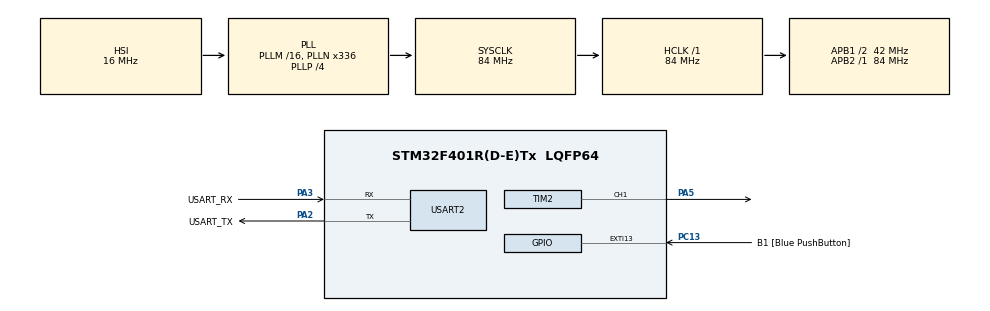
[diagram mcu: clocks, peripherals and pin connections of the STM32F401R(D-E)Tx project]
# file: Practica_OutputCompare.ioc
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Mcu.Family=STM32F4
Mcu.Name=STM32F401R(D-E)Tx
Mcu.Package=LQFP64
NVIC.EXTI15_10_IRQn=true\:0\:0\:false\:false\:true\:true\:true\:true
NVIC.PriorityGroup=NVIC_PRIORITYGROUP_0
PA13.GPIO_Label=TMS
PA13.Mode=Serial_Wire
PA13.Signal=SYS_JTMS-SWDIO
PA14.GPIO_Label=TCK
PA14.Mode=Serial_Wire
PA14.Signal=SYS_JTCK-SWCLK
PA2.GPIO_Label=USART_TX
PA2.GPIO_Mode=GPIO_MODE_AF_PP
PA2.GPIO_PuPd=GPIO_NOPULL
PA2.GPIO_Speed=GPIO_SPEED_FREQ_LOW
PA2.Mode=Asynchronous
PA2.Signal=USART2_TX
PA3.GPIO_Label=USART_RX
PA3.GPIO_Mode=GPIO_MODE_AF_PP
PA3.GPIO_PuPd=GPIO_NOPULL
PA3.GPIO_Speed=GPIO_SPEED_FREQ_LOW
PA3.Mode=Asynchronous
PA3.Signal=USART2_RX
PA5.Signal=S_TIM2_CH1_ETR
PB3.GPIO_Label=SWO
PB3.Signal=SYS_JTDO-SWO
PC13-ANTI_TAMP.GPIO_Label=B1 [Blue PushButton]
PC13-ANTI_TAMP.GPIO_ModeDefaultEXTI=GPIO_MODE_IT_RISING_FALLING
PC13-ANTI_TAMP.GPIO_PuPd=GPIO_NOPULL
PC13-ANTI_TAMP.Signal=GPXTI13
PC14-OSC32_IN.Mode=LSE-External-Oscillator
PC14-OSC32_IN.Signal=RCC_OSC32_IN
PC15-OSC32_OUT.Mode=LSE-External-Oscillator
PC15-OSC32_OUT.Signal=RCC_OSC32_OUT
PH0\ -\ OSC_IN.Mode=HSE-External-Clock-Source
PH0\ -\ OSC_IN.Signal=RCC_OSC_IN
PH1\ -\ OSC_OUT.Mode=HSE-External-Clock-Source
PH1\ -\ OSC_OUT.Signal=RCC_OSC_OUT
ProjectManager.HeapSize=0x200
ProjectManager.StackSize=0x400
ProjectManager.TargetToolchain=STM32CubeIDE
RCC.48MHZClocksFreq_Value=48000000
RCC.AHBFreq_Value=84000000
RCC.APB1CLKDivider=RCC_HCLK_DIV2
RCC.APB1Freq_Value=42000000
RCC.APB1TimFreq_Value=84000000
RCC.APB2Freq_Value=84000000
RCC.APB2TimFreq_Value=84000000
RCC.CortexFreq_Value=84000000
RCC.HCLKFreq_Value=84000000
RCC.HSE_VALUE=8000000
RCC.HSI_VALUE=16000000
RCC.PLLN=336
RCC.PLLP=RCC_PLLP_DIV4
RCC.PLLQ=7
RCC.SYSCLKFreq_VALUE=84000000
RCC.SYSCLKSource=RCC_SYSCLKSOURCE_PLLCLK
RCC.VCOOutputFreq_Value=336000000
SH.S_TIM2_CH1_ETR.0=TIM2_CH1,Output Compare1 CH1
TIM1.Prescaler=41999
TIM2.AutoReloadPreload=TIM_AUTORELOAD_PRELOAD_DISABLE
TIM2.Channel-Output\ Compare1\ CH1=TIM_CHANNEL_1
TIM2.OC1Preload=ENABLE
TIM2.OCMode_1=TIM_OCMODE_TOGGLE
TIM2.OCPolarity_1=TIM_OCPOLARITY_HIGH
TIM2.Period=2000
TIM2.Prescaler=41999
USART2.VirtualMode=VM_ASYNC
VP_TIM1_VS_ClockSourceINT.Mode=Internal
VP_TIM2_VS_ClockSourceINT.Mode=Internal
board=NUCLEO-F401RE

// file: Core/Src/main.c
/* USER CODE BEGIN Header */
/**
  ******************************************************************************
  * @file           : main.c
  * @brief          : Main program body
  ******************************************************************************
  * @attention
  *
  * Copyright (c) 2022 STMicroelectronics.
  * All rights reserved.
  *
  * This software is licensed under terms that can be found in the LICENSE file
  * in the root directory of this software component.
  * If no LICENSE file comes with this software, it is provided AS-IS.
  *
  ******************************************************************************
  */
/* USER CODE END Header */
#include "main.h"

/* USER CODE BEGIN PD */
#define UN_SEG 		((uint32_t)2000) //TIMER 1 con clock de 84MHz, prescaler de 41999 (cada tick es de 0,5ms)
#define TRES_SEG 	((uint32_t)3 * UN_SEG)
#define CINCO_SEG 	((uint32_t)5 * UN_SEG)

#define MS			((uint32_t) 2)	//TIMER 2 con clock de 84MHz, prescaler de 41999 (cada tick es de 0,5ms => cada ms son dos ticks)
/* USER CODE END PD */

TIM_HandleTypeDef htim1;
TIM_HandleTypeDef htim2;

UART_HandleTypeDef huart2;

void SystemClock_Config(void);
static void MX_GPIO_Init(void);
static void MX_USART2_UART_Init(void);
static void MX_TIM2_Init(void);
static void MX_TIM1_Init(void);

int main(void)
{

  /* MCU Configuration--------------------------------------------------------*/

  /* Reset of all peripherals, Initializes the Flash interface and the Systick. */
  HAL_Init();

  /* Configure the system clock */
  SystemClock_Config();

  /* Initialize all configured peripherals */
  MX_GPIO_Init();
  MX_USART2_UART_Init();
  MX_TIM2_Init();
  MX_TIM1_Init();
  /* USER CODE BEGIN 2 */
  HAL_TIM_Base_Start(&htim2);
  HAL_TIM_OC_Start(&htim2, TIM_CHANNEL_1);
  /* USER CODE END 2 */

  /* Infinite loop */
  while (1)
  {

  }
}

void SystemClock_Config(void)
{
  RCC_OscInitTypeDef RCC_OscInitStruct = {0};
  RCC_ClkInitTypeDef RCC_ClkInitStruct = {0};

  /** Configure the main internal regulator output voltage
  */
  __HAL_RCC_PWR_CLK_ENABLE();
  __HAL_PWR_VOLTAGESCALING_CONFIG(PWR_REGULATOR_VOLTAGE_SCALE2);

  /** Initializes the RCC Oscillators according to the specified parameters
  * in the RCC_OscInitTypeDef structure.
  */
  RCC_OscInitStruct.OscillatorType = RCC_OSCILLATORTYPE_HSI;
  RCC_OscInitStruct.HSIState = RCC_HSI_ON;
  RCC_OscInitStruct.HSICalibrationValue = RCC_HSICALIBRATION_DEFAULT;
  RCC_OscInitStruct.PLL.PLLState = RCC_PLL_ON;
  RCC_OscInitStruct.PLL.PLLSource = RCC_PLLSOURCE_HSI;
  RCC_OscInitStruct.PLL.PLLM = 16;
  RCC_OscInitStruct.PLL.PLLN = 336;
  RCC_OscInitStruct.PLL.PLLP = RCC_PLLP_DIV4;
  RCC_OscInitStruct.PLL.PLLQ = 7;
  if (HAL_RCC_OscConfig(&RCC_OscInitStruct) != HAL_OK)
  {
    Error_Handler();
  }

  /** Initializes the CPU, AHB and APB buses clocks
  */
  RCC_ClkInitStruct.ClockType = RCC_CLOCKTYPE_HCLK|RCC_CLOCKTYPE_SYSCLK
                              |RCC_CLOCKTYPE_PCLK1|RCC_CLOCKTYPE_PCLK2;
  RCC_ClkInitStruct.SYSCLKSource = RCC_SYSCLKSOURCE_PLLCLK;
  RCC_ClkInitStruct.AHBCLKDivider = RCC_SYSCLK_DIV1;
  RCC_ClkInitStruct.APB1CLKDivider = RCC_HCLK_DIV2;
  RCC_ClkInitStruct.APB2CLKDivider = RCC_HCLK_DIV1;

  if (HAL_RCC_ClockConfig(&RCC_ClkInitStruct, FLASH_LATENCY_2) != HAL_OK)
  {
    Error_Handler();
  }
}

static void MX_TIM1_Init(void)
{

  TIM_ClockConfigTypeDef sClockSourceConfig = {0};
  TIM_MasterConfigTypeDef sMasterConfig = {0};

  htim1.Instance = TIM1;
  htim1.Init.Prescaler = 41999;
  htim1.Init.CounterMode = TIM_COUNTERMODE_UP;
  htim1.Init.Period = 65535;
  htim1.Init.ClockDivision = TIM_CLOCKDIVISION_DIV1;
  htim1.Init.RepetitionCounter = 0;
  htim1.Init.AutoReloadPreload = TIM_AUTORELOAD_PRELOAD_DISABLE;
  if (HAL_TIM_Base_Init(&htim1) != HAL_OK)
  {
    Error_Handler();
  }
  sClockSourceConfig.ClockSource = TIM_CLOCKSOURCE_INTERNAL;
  if (HAL_TIM_ConfigClockSource(&htim1, &sClockSourceConfig) != HAL_OK)
  {
    Error_Handler();
  }
  sMasterConfig.MasterOutputTrigger = TIM_TRGO_RESET;
  sMasterConfig.MasterSlaveMode = TIM_MASTERSLAVEMODE_DISABLE;
  if (HAL_TIMEx_MasterConfigSynchronization(&htim1, &sMasterConfig) != HAL_OK)
  {
    Error_Handler();
  }

}

static void MX_TIM2_Init(void)
{

  TIM_ClockConfigTypeDef sClockSourceConfig = {0};
  TIM_MasterConfigTypeDef sMasterConfig = {0};
  TIM_OC_InitTypeDef sConfigOC = {0};

  htim2.Instance = TIM2;
  htim2.Init.Prescaler = 41999;
  htim2.Init.CounterMode = TIM_COUNTERMODE_UP;
  htim2.Init.Period = 2000;
  htim2.Init.ClockDivision = TIM_CLOCKDIVISION_DIV1;
  htim2.Init.AutoReloadPreload = TIM_AUTORELOAD_PRELOAD_DISABLE;
  if (HAL_TIM_Base_Init(&htim2) != HAL_OK)
  {
    Error_Handler();
  }
  sClockSourceConfig.ClockSource = TIM_CLOCKSOURCE_INTERNAL;
  if (HAL_TIM_ConfigClockSource(&htim2, &sClockSourceConfig) != HAL_OK)
  {
    Error_Handler();
  }
  if (HAL_TIM_OC_Init(&htim2) != HAL_OK)
  {
    Error_Handler();
  }
  sMasterConfig.MasterOutputTrigger = TIM_TRGO_RESET;
  sMasterConfig.MasterSlaveMode = TIM_MASTERSLAVEMODE_DISABLE;
  if (HAL_TIMEx_MasterConfigSynchronization(&htim2, &sMasterConfig) != HAL_OK)
  {
    Error_Handler();
  }
  sConfigOC.OCMode = TIM_OCMODE_TOGGLE;
  sConfigOC.Pulse = 0;
  sConfigOC.OCPolarity = TIM_OCPOLARITY_HIGH;
  sConfigOC.OCFastMode = TIM_OCFAST_DISABLE;
  if (HAL_TIM_OC_ConfigChannel(&htim2, &sConfigOC, TIM_CHANNEL_1) != HAL_OK)
  {
    Error_Handler();
  }
  __HAL_TIM_ENABLE_OCxPRELOAD(&htim2, TIM_CHANNEL_1);
  HAL_TIM_MspPostInit(&htim2);

}

static void MX_USART2_UART_Init(void)
{

  huart2.Instance = USART2;
  huart2.Init.BaudRate = 115200;
  huart2.Init.WordLength = UART_WORDLENGTH_8B;
  huart2.Init.StopBits = UART_STOPBITS_1;
  huart2.Init.Parity = UART_PARITY_NONE;
  huart2.Init.Mode = UART_MODE_TX_RX;
  huart2.Init.HwFlowCtl = UART_HWCONTROL_NONE;
  huart2.Init.OverSampling = UART_OVERSAMPLING_16;
  if (HAL_UART_Init(&huart2) != HAL_OK)
  {
    Error_Handler();
  }

}

static void MX_GPIO_Init(void)
{
  GPIO_InitTypeDef GPIO_InitStruct = {0};

  /* GPIO Ports Clock Enable */
  __HAL_RCC_GPIOC_CLK_ENABLE();
  __HAL_RCC_GPIOH_CLK_ENABLE();
  __HAL_RCC_GPIOA_CLK_ENABLE();
  __HAL_RCC_GPIOB_CLK_ENABLE();

  /*Configure GPIO pin : B1_Pin */
  GPIO_InitStruct.Pin = B1_Pin;
  GPIO_InitStruct.Mode = GPIO_MODE_IT_RISING_FALLING;
  GPIO_InitStruct.Pull = GPIO_NOPULL;
  HAL_GPIO_Init(B1_GPIO_Port, &GPIO_InitStruct);

  /* EXTI interrupt init*/
  HAL_NVIC_SetPriority(EXTI15_10_IRQn, 0, 0);
  HAL_NVIC_EnableIRQ(EXTI15_10_IRQn);

}

/* USER CODE BEGIN 4 */
void HAL_GPIO_EXTI_Callback(uint16_t GPIO_Pin)
{
	if(HAL_GPIO_ReadPin(B1_GPIO_Port, B1_Pin) == GPIO_PIN_RESET)	//Se presionó el pulsador
	{
		__HAL_TIM_SET_COUNTER(&htim1, 0); //Reseteo el timer 1
		HAL_TIM_Base_Start(&htim1); //Inicio el timer 1
	}

	else //Se soltó el pulsador
	{
		HAL_TIM_Base_Stop(&htim1);	//Detengo el timer 1
		uint32_t cuenta = __HAL_TIM_GET_COUNTER(&htim1);	//Leo la cuenta

		if(cuenta < UN_SEG)
		{
			HAL_TIM_Base_Stop(&htim2);

			htim2.Init.Period = 250*MS;		//Toggle de 2Hz
			HAL_TIM_Base_Init(&htim2);
			HAL_Delay(500);
			HAL_TIM_Base_Start(&htim2);
		}
		else if(cuenta >= UN_SEG && cuenta < TRES_SEG)
		{
			HAL_TIM_Base_Stop(&htim2);

			htim2.Init.Period = 500*MS;		//Toggle de 1Hz
			HAL_TIM_Base_Init(&htim2);

			HAL_TIM_Base_Start(&htim2);
		}

		else if(cuenta > CINCO_SEG)
		{
			HAL_TIM_Base_Stop(&htim2);

			htim2.Init.Period = 1000*MS;	//Toggle de 0.5Hz
			HAL_TIM_Base_Init(&htim2);

			HAL_TIM_Base_Start(&htim2);
		}
	}
}
/* USER CODE END 4 */

void Error_Handler(void)
{
  __disable_irq();
  while (1)
  {
  }
}
